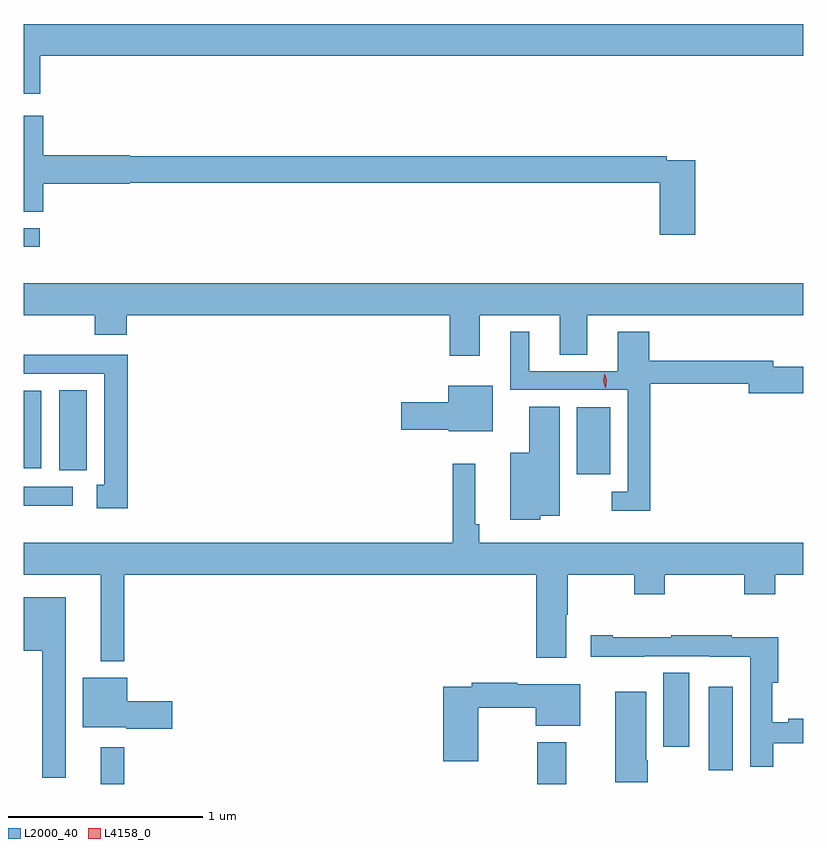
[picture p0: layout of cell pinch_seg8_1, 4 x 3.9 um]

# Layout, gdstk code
import gdstk
lib = gdstk.Library(unit=1e-6, precision=1e-09)
def R(c, l, rs):  # rectangles x0, y0, x1, y1
    for r in rs: c.add(gdstk.rectangle(r[:2], r[2:], *l))
def P(c, l, *ps):  # polygons
    for p in ps: c.add(gdstk.Polygon(p, *l))
L2000_40 = (2000, 40)
L4158_0 = (4158, 0)

pinch_seg8_1 = lib.new_cell('pinch_seg8_1')
R(pinch_seg8_1, L2000_40, [(1006.727,1126.082,1006.849,1126.27), (1008.97,1126.082,1009.117,1126.297), (1009.85,1126.152,1009.972,1126.582), (1009.616,1126.272,1009.75,1126.652), (1006.334,1127.511,1006.585,1127.607), (1009.172,1127.672,1009.345,1128.016), (1006.514,1127.692,1006.657,1128.104), (1006.334,1127.702,1006.423,1128.1), (1006.334,1128.84,1006.414,1128.936)])
P(pinch_seg8_1, L2000_40, [(1006.418,1129.82),(1010.334,1129.82),(1010.334,1129.984),(1006.334,1129.984),(1006.334,1129.626),(1006.418,1129.626)],
  [(1009.781,1129.284),(1009.634,1129.284),(1009.634,1129.304),(1006.878,1129.304),(1006.878,1129.31),(1006.433,1129.31),(1006.433,1129.513),(1006.334,1129.513),(1006.334,1129.021),(1006.433,1129.021),(1006.433,1129.163),(1006.878,1129.163),(1006.878,1129.168),(1009.598,1129.168),(1009.598,1128.903),(1009.781,1128.903)],
  [(1008.673,1128.488),(1009.085,1128.488),(1009.085,1128.286),(1009.225,1128.286),(1009.225,1128.488),(1010.334,1128.488),(1010.334,1128.652),(1006.334,1128.652),(1006.334,1128.488),(1006.697,1128.488),(1006.697,1128.389),(1006.862,1128.389),(1006.862,1128.488),(1008.521,1128.488),(1008.521,1128.282),(1008.673,1128.282)],
  [(1009.55,1128.136),(1010.054,1128.136),(1010.054,1128.089),(1010.334,1128.089),(1010.334,1128.223),(1010.182,1128.223),(1010.182,1128.255),(1009.544,1128.255),(1009.544,1128.403),(1009.382,1128.403),(1009.382,1128.201),(1008.928,1128.201),(1008.928,1128.403),(1008.83,1128.403),(1008.83,1128.105),(1009.434,1128.105),(1009.434,1127.583),(1009.353,1127.583),(1009.353,1127.486),(1009.55,1127.486)],
  [(1006.867,1128.285),(1006.613,1128.285),(1006.613,1128.287),(1006.334,1128.287),(1006.334,1128.189),(1006.745,1128.189),(1006.745,1127.619),(1006.709,1127.619),(1006.709,1127.499),(1006.867,1127.499)],
  [(1008.742,1128.127),(1008.512,1128.127),(1008.512,1128.042),(1008.27,1128.042),(1008.27,1127.9),(1008.516,1127.9),(1008.516,1127.894),(1008.742,1127.894)],
  [(1008.984,1127.459),(1009.084,1127.459),(1009.084,1128.02),(1008.929,1128.02),(1008.929,1127.782),(1008.83,1127.782),(1008.83,1127.438),(1008.984,1127.438)],
  [(1006.849,1127.156),(1008.965,1127.156),(1008.965,1126.731),(1009.117,1126.731),(1009.117,1126.952),(1009.125,1126.952),(1009.125,1127.156),(1009.468,1127.156),(1009.468,1127.057),(1009.623,1127.057),(1009.623,1127.156),(1010.032,1127.156),(1010.032,1127.057),(1010.192,1127.057),(1010.192,1127.156),(1010.334,1127.156),(1010.334,1127.32),(1008.671,1127.32),(1008.671,1127.416),(1008.652,1127.416),(1008.652,1127.725),(1008.535,1127.725),(1008.535,1127.32),(1006.334,1127.32),(1006.334,1127.156),(1006.727,1127.156),(1006.727,1126.712),(1006.849,1126.712)],
  [(1006.549,1127.041),(1006.334,1127.041),(1006.334,1126.766),(1006.428,1126.766),(1006.428,1126.113),(1006.549,1126.113)],
  [(1010.18,1126.29),(1010.334,1126.29),(1010.334,1126.418),(1010.257,1126.418),(1010.257,1126.4),(1010.176,1126.4),(1010.176,1126.601),(1010.207,1126.601),(1010.207,1126.836),(1009.967,1126.836),(1009.967,1126.846),(1009.657,1126.846),(1009.657,1126.836),(1009.357,1126.836),(1009.357,1126.846),(1009.245,1126.846),(1009.245,1126.736),(1009.52,1126.736),(1009.52,1126.737),(1009.854,1126.737),(1009.854,1126.736),(1010.064,1126.736),(1010.064,1126.17),(1010.18,1126.17)],
  [(1007.095,1126.508),(1006.864,1126.508),(1006.864,1126.627),(1006.637,1126.627),(1006.637,1126.373),(1006.86,1126.373),(1006.86,1126.366),(1007.095,1126.366)],
  [(1008.666,1126.473),(1008.962,1126.473),(1008.962,1126.382),(1009.189,1126.382),(1009.189,1126.594),(1008.866,1126.594),(1008.866,1126.601),(1008.634,1126.601),(1008.634,1126.581),(1008.488,1126.581),(1008.488,1126.2),(1008.666,1126.2)],
  [(1009.536,1126.204),(1009.528,1126.204),(1009.528,1126.555),(1009.37,1126.555),(1009.37,1126.092),(1009.536,1126.092)])
P(pinch_seg8_1, L4158_0, [(1009.319,1128.117),(1009.307,1128.153),(1009.315,1128.189),(1009.315,1128.189),(1009.315,1128.189),(1009.327,1128.154),(1009.32,1128.117),(1009.32,1128.117)])

lib.write_gds('pinch_seg8_1.gds')
